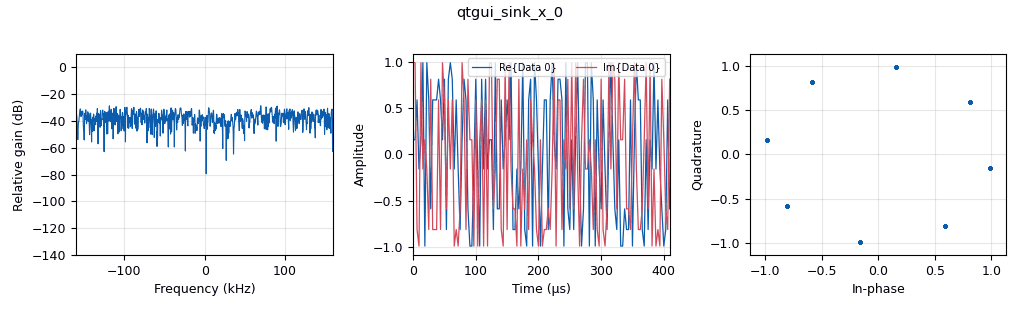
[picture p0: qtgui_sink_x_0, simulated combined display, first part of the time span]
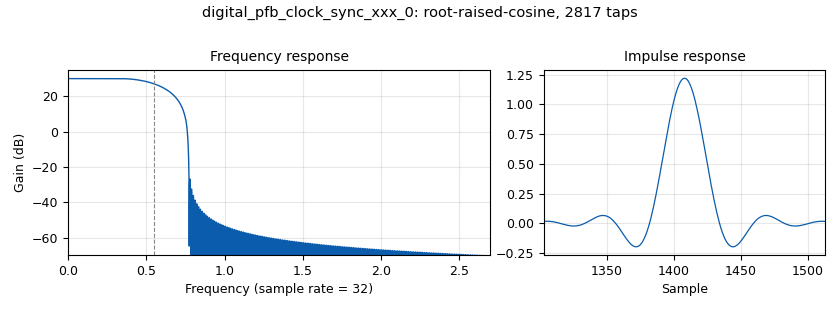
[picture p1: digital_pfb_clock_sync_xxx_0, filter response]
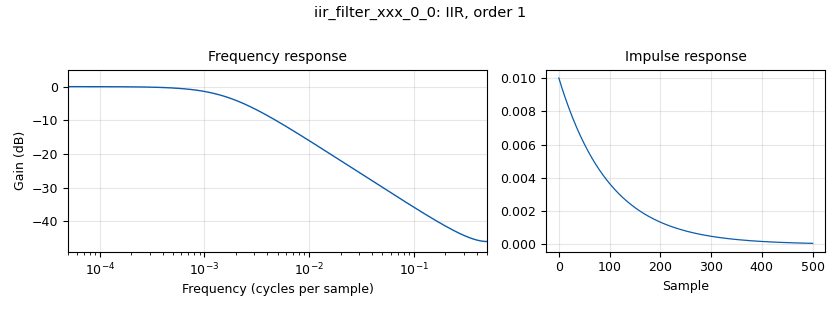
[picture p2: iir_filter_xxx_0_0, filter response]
<?xml version='1.0' encoding='utf-8'?>
<?grc format='1' created='3.7.11'?>
<flow_graph>
<block>
<key>options</key>
<param><key>id</key><value>top_block</value></param>
<param><key>generate_options</key><value>qt_gui</value></param>
</block>
<block>
<key>variable</key>
<param><key>id</key><value>const_points</value></param>
<param><key>value</key><value>4</value></param>
</block>
<block>
<key>variable</key>
<param><key>id</key><value>excess_bw</value></param>
<param><key>value</key><value>0.4</value></param>
</block>
<block>
<key>variable_qtgui_range</key>
<param><key>id</key><value>freq</value></param>
<param><key>value</key><value>10000</value></param>
<param><key>orient</key><value>Qt.Horizontal</value></param>
<param><key>start</key><value>0</value></param>
<param><key>step</key><value>1000</value></param>
<param><key>stop</key><value>20000</value></param>
</block>
<block>
<key>variable</key>
<param><key>id</key><value>nfilts</value></param>
<param><key>value</key><value>32</value></param>
</block>
<block>
<key>variable</key>
<param><key>id</key><value>ntaps</value></param>
<param><key>value</key><value>11*nfilts*sps</value></param>
</block>
<block>
<key>variable</key>
<param><key>id</key><value>samp_rate</value></param>
<param><key>value</key><value>40000*sps</value></param>
</block>
<block>
<key>variable_qtgui_range</key>
<param><key>id</key><value>slider</value></param>
<param><key>value</key><value>50</value></param>
<param><key>orient</key><value>Qt.Horizontal</value></param>
<param><key>start</key><value>0</value></param>
<param><key>step</key><value>10</value></param>
<param><key>stop</key><value>1000</value></param>
</block>
<block>
<key>variable</key>
<param><key>id</key><value>sps</value></param>
<param><key>value</key><value>8</value></param>
</block>
<block>
<key>variable</key>
<param><key>id</key><value>tx_taps</value></param>
<param><key>value</key><value>firdes.root_raised_cosine(nfilts,nfilts,1.1,excess_bw,ntaps)</value></param>
</block>
<block>
<key>variable_qtgui_range</key>
<param><key>id</key><value>var1</value></param>
<param><key>value</key><value>0</value></param>
<param><key>_enabled</key><value>0</value></param>
<param><key>orient</key><value>Qt.Horizontal</value></param>
<param><key>start</key><value>-1</value></param>
<param><key>step</key><value>0.01</value></param>
<param><key>stop</key><value>1</value></param>
</block>
<block>
<key>variable_qtgui_range</key>
<param><key>id</key><value>var2</value></param>
<param><key>value</key><value>0</value></param>
<param><key>_enabled</key><value>0</value></param>
<param><key>orient</key><value>Qt.Horizontal</value></param>
<param><key>start</key><value>-1</value></param>
<param><key>step</key><value>0.01</value></param>
<param><key>stop</key><value>1</value></param>
</block>
<block>
<key>variable_qtgui_range</key>
<param><key>id</key><value>var3</value></param>
<param><key>value</key><value>0</value></param>
<param><key>_enabled</key><value>0</value></param>
<param><key>orient</key><value>Qt.Horizontal</value></param>
<param><key>start</key><value>-1</value></param>
<param><key>step</key><value>0.01</value></param>
<param><key>stop</key><value>1</value></param>
</block>
<block>
<key>variable_qtgui_range</key>
<param><key>id</key><value>var4</value></param>
<param><key>value</key><value>0</value></param>
<param><key>_enabled</key><value>0</value></param>
<param><key>orient</key><value>Qt.Horizontal</value></param>
<param><key>start</key><value>-1</value></param>
<param><key>step</key><value>0.01</value></param>
<param><key>stop</key><value>1</value></param>
</block>
<block>
<key>analog_phase_modulator_fc</key>
<param><key>id</key><value>analog_phase_modulator_fc_0</value></param>
<param><key>sensitivity</key><value>1</value></param>
</block>
<block>
<key>analog_phase_modulator_fc</key>
<param><key>id</key><value>analog_phase_modulator_fc_0_0</value></param>
<param><key>sensitivity</key><value>1</value></param>
</block>
<block>
<key>analog_random_source_x</key>
<param><key>id</key><value>analog_random_source_x_0</value></param>
<param><key>max</key><value>8</value></param>
<param><key>min</key><value>0</value></param>
<param><key>num_samps</key><value>1000</value></param>
<param><key>type</key><value>int</value></param>
<param><key>repeat</key><value>True</value></param>
</block>
<block>
<key>analog_sig_source_x</key>
<param><key>id</key><value>analog_sig_source_x_0</value></param>
<param><key>amp</key><value>1</value></param>
<param><key>freq</key><value>10000</value></param>
<param><key>offset</key><value>0</value></param>
<param><key>type</key><value>complex</value></param>
<param><key>samp_rate</key><value>samp_rate</value></param>
<param><key>waveform</key><value>analog.GR_COS_WAVE</value></param>
</block>
<block>
<key>blocks_complex_to_arg</key>
<param><key>id</key><value>blocks_complex_to_arg_0</value></param>
</block>
<block>
<key>blocks_complex_to_arg</key>
<param><key>id</key><value>blocks_complex_to_arg_0_0</value></param>
</block>
<block>
<key>blocks_complex_to_arg</key>
<param><key>id</key><value>blocks_complex_to_arg_1</value></param>
</block>
<block>
<key>blocks_complex_to_arg</key>
<param><key>id</key><value>blocks_complex_to_arg_1_0</value></param>
</block>
<block>
<key>blocks_delay</key>
<param><key>id</key><value>blocks_delay_0</value></param>
<param><key>delay</key><value>1</value></param>
<param><key>type</key><value>complex</value></param>
</block>
<block>
<key>blocks_delay</key>
<param><key>id</key><value>blocks_delay_0_0</value></param>
<param><key>delay</key><value>slider</value></param>
<param><key>type</key><value>float</value></param>
</block>
<block>
<key>blocks_delay</key>
<param><key>id</key><value>blocks_delay_0_1</value></param>
<param><key>delay</key><value>1</value></param>
<param><key>type</key><value>complex</value></param>
</block>
<block>
<key>blocks_delay</key>
<param><key>id</key><value>blocks_delay_1</value></param>
<param><key>delay</key><value>1</value></param>
<param><key>type</key><value>complex</value></param>
</block>
<block>
<key>blocks_delay</key>
<param><key>id</key><value>blocks_delay_1_0</value></param>
<param><key>delay</key><value>1</value></param>
<param><key>type</key><value>complex</value></param>
</block>
<block>
<key>blocks_multiply_conjugate_cc</key>
<param><key>id</key><value>blocks_multiply_conjugate_cc_0</value></param>
</block>
<block>
<key>blocks_multiply_conjugate_cc</key>
<param><key>id</key><value>blocks_multiply_conjugate_cc_0_0</value></param>
</block>
<block>
<key>blocks_multiply_conjugate_cc</key>
<param><key>id</key><value>blocks_multiply_conjugate_cc_1</value></param>
</block>
<block>
<key>blocks_multiply_conjugate_cc</key>
<param><key>id</key><value>blocks_multiply_conjugate_cc_1_0</value></param>
</block>
<block>
<key>blocks_multiply_conjugate_cc</key>
<param><key>id</key><value>blocks_multiply_conjugate_cc_2</value></param>
</block>
<block>
<key>blocks_multiply_conjugate_cc</key>
<param><key>id</key><value>blocks_multiply_conjugate_cc_2_0</value></param>
</block>
<block>
<key>blocks_multiply_const_vxx</key>
<param><key>id</key><value>blocks_multiply_const_vxx_0</value></param>
<param><key>const</key><value>1.0/sps</value></param>
<param><key>type</key><value>float</value></param>
</block>
<block>
<key>blocks_multiply_const_vxx</key>
<param><key>id</key><value>blocks_multiply_const_vxx_0_0</value></param>
<param><key>const</key><value>0.001</value></param>
<param><key>type</key><value>float</value></param>
</block>
<block>
<key>blocks_multiply_const_vxx</key>
<param><key>id</key><value>blocks_multiply_const_vxx_0_1</value></param>
<param><key>const</key><value>1.0/sps</value></param>
<param><key>type</key><value>float</value></param>
</block>
<block>
<key>blocks_multiply_xx</key>
<param><key>id</key><value>blocks_multiply_xx_0</value></param>
<param><key>type</key><value>complex</value></param>
</block>
<block>
<key>blocks_multiply_xx</key>
<param><key>id</key><value>blocks_multiply_xx_3</value></param>
<param><key>type</key><value>complex</value></param>
<param><key>num_inputs</key><value>8</value></param>
</block>
<block>
<key>blocks_multiply_xx</key>
<param><key>id</key><value>blocks_multiply_xx_3_0</value></param>
<param><key>type</key><value>complex</value></param>
</block>
<block>
<key>blocks_multiply_xx</key>
<param><key>id</key><value>blocks_multiply_xx_3_1</value></param>
<param><key>type</key><value>complex</value></param>
<param><key>num_inputs</key><value>8</value></param>
</block>
<block>
<key>blocks_udp_sink</key>
<param><key>id</key><value>blocks_udp_sink_0</value></param>
<param><key>ipaddr</key><value>127.0.0.1</value></param>
<param><key>port</key><value>35678</value></param>
<param><key>type</key><value>float</value></param>
<param><key>psize</key><value>1472</value></param>
<param><key>eof</key><value>True</value></param>
<param><key>vlen</key><value>1</value></param>
</block>
<block>
<key>blocks_udp_source</key>
<param><key>id</key><value>blocks_udp_source_0</value></param>
<param><key>ipaddr</key><value>127.0.0.1</value></param>
<param><key>eof</key><value>True</value></param>
<param><key>type</key><value>float</value></param>
<param><key>psize</key><value>1472</value></param>
<param><key>port</key><value>35678</value></param>
<param><key>vlen</key><value>1</value></param>
</block>
<block>
<key>blocks_vco_c</key>
<param><key>id</key><value>blocks_vco_c_0</value></param>
<param><key>amplitude</key><value>1</value></param>
<param><key>samp_rate</key><value>samp_rate</value></param>
<param><key>sensitivity</key><value>samp_rate</value></param>
</block>
<block>
<key>blocks_vco_c</key>
<param><key>id</key><value>blocks_vco_c_0_0</value></param>
<param><key>amplitude</key><value>1</value></param>
<param><key>samp_rate</key><value>samp_rate</value></param>
<param><key>sensitivity</key><value>-5</value></param>
</block>
<block>
<key>import</key>
<param><key>id</key><value>digital</value></param>
<param><key>import</key><value>from gnuradio import digital</value></param>
</block>
<block>
<key>digital_chunks_to_symbols_xx</key>
<param><key>id</key><value>digital_chunks_to_symbols_xx_0</value></param>
<param><key>dimension</key><value>1</value></param>
<param><key>in_type</key><value>int</value></param>
<param><key>out_type</key><value>complex</value></param>
<param><key>symbol_table</key><value>((1), (-1), (1j), (-1j), (0.707-0.707j),(0.707+0.707j),(-0.707+0.707j),(-0.707-0.707j))</value></param>
</block>
<block>
<key>digital_pfb_clock_sync_xxx</key>
<param><key>id</key><value>digital_pfb_clock_sync_xxx_0</value></param>
<param><key>filter_size</key><value>nfilts</value></param>
<param><key>init_phase</key><value>16</value></param>
<param><key>loop_bw</key><value>2*pi/100</value></param>
<param><key>max_dev</key><value>1.5</value></param>
<param><key>osps</key><value>1</value></param>
<param><key>sps</key><value>sps</value></param>
<param><key>taps</key><value>tx_taps</value></param>
<param><key>type</key><value>ccf</value></param>
</block>
<block>
<key>import</key>
<param><key>id</key><value>filt</value></param>
<param><key>import</key><value>from gnuradio import filter</value></param>
</block>
<block>
<key>iir_filter_xxx</key>
<param><key>id</key><value>iir_filter_xxx_0</value></param>
<param><key>fftaps</key><value>1</value></param>
<param><key>fbtaps</key><value>[1,1]</value></param>
<param><key>type</key><value>ffd</value></param>
</block>
<block>
<key>iir_filter_xxx</key>
<param><key>id</key><value>iir_filter_xxx_0_0</value></param>
<param><key>fftaps</key><value>0.01</value></param>
<param><key>fbtaps</key><value>[-1, 0.99]</value></param>
<param><key>type</key><value>ffd</value></param>
</block>
<block>
<key>iir_filter_xxx</key>
<param><key>id</key><value>iir_filter_xxx_0_1</value></param>
<param><key>fftaps</key><value>1</value></param>
<param><key>fbtaps</key><value>[1,1]</value></param>
<param><key>type</key><value>ffd</value></param>
</block>
<block>
<key>iir_filter_xxx</key>
<param><key>id</key><value>iir_filter_xxx_1</value></param>
<param><key>fftaps</key><value>[1.001, -1]</value></param>
<param><key>fbtaps</key><value>[1, -1]</value></param>
<param><key>type</key><value>ffd</value></param>
</block>
<block>
<key>pfb_arb_resampler_xxx</key>
<param><key>id</key><value>pfb_arb_resampler_xxx_0</value></param>
<param><key>nfilts</key><value>32</value></param>
<param><key>rrate</key><value>sps</value></param>
<param><key>atten</key><value>100</value></param>
<param><key>taps</key><value>tx_taps</value></param>
<param><key>type</key><value>ccf</value></param>
</block>
<block>
<key>import</key>
<param><key>id</key><value>pi</value></param>
<param><key>import</key><value>from math import pi</value></param>
</block>
<block>
<key>qtgui_sink_x</key>
<param><key>id</key><value>qtgui_sink_x_0</value></param>
<param><key>bw</key><value>samp_rate</value></param>
<param><key>fc</key><value>0</value></param>
<param><key>freqchangevar</key><value>None</value></param>
<param><key>fftsize</key><value>1024</value></param>
<param><key>showports</key><value>True</value></param>
<param><key>type</key><value>complex</value></param>
<param><key>wintype</key><value>firdes.WIN_BLACKMAN_hARRIS</value></param>
</block>
<block>
<key>rational_resampler_xxx</key>
<param><key>id</key><value>rational_resampler_xxx_0</value></param>
<param><key>decim</key><value>1</value></param>
<param><key>interp</key><value>sps</value></param>
<param><key>taps</key><value>1</value></param>
<param><key>type</key><value>fff</value></param>
</block>
<connection><source_block_id>analog_phase_modulator_fc_0</source_block_id><sink_block_id>blocks_multiply_conjugate_cc_0</sink_block_id><source_key>0</source_key><sink_key>1</sink_key></connection>
<connection><source_block_id>analog_phase_modulator_fc_0_0</source_block_id><sink_block_id>blocks_multiply_conjugate_cc_0_0</sink_block_id><source_key>0</source_key><sink_key>1</sink_key></connection>
<connection><source_block_id>analog_random_source_x_0</source_block_id><sink_block_id>digital_chunks_to_symbols_xx_0</sink_block_id><source_key>0</source_key><sink_key>0</sink_key></connection>
<connection><source_block_id>analog_sig_source_x_0</source_block_id><sink_block_id>blocks_multiply_xx_0</sink_block_id><source_key>0</source_key><sink_key>0</sink_key></connection>
<connection><source_block_id>blocks_complex_to_arg_0</source_block_id><sink_block_id>blocks_vco_c_0</sink_block_id><source_key>0</source_key><sink_key>0</sink_key></connection>
<connection><source_block_id>blocks_complex_to_arg_0_0</source_block_id><sink_block_id>iir_filter_xxx_0_0</sink_block_id><source_key>0</source_key><sink_key>0</sink_key></connection>
<connection><source_block_id>blocks_complex_to_arg_1</source_block_id><sink_block_id>blocks_multiply_const_vxx_0</sink_block_id><source_key>0</source_key><sink_key>0</sink_key></connection>
<connection><source_block_id>blocks_complex_to_arg_1_0</source_block_id><sink_block_id>blocks_multiply_const_vxx_0_1</sink_block_id><source_key>0</source_key><sink_key>0</sink_key></connection>
<connection><source_block_id>blocks_delay_0</source_block_id><sink_block_id>blocks_multiply_conjugate_cc_1</sink_block_id><source_key>0</source_key><sink_key>1</sink_key></connection>
<connection><source_block_id>blocks_delay_0_0</source_block_id><sink_block_id>iir_filter_xxx_1</sink_block_id><source_key>0</source_key><sink_key>0</sink_key></connection>
<connection><source_block_id>blocks_delay_0_1</source_block_id><sink_block_id>blocks_multiply_conjugate_cc_1_0</sink_block_id><source_key>0</source_key><sink_key>1</sink_key></connection>
<connection><source_block_id>blocks_delay_1</source_block_id><sink_block_id>blocks_multiply_conjugate_cc_2</sink_block_id><source_key>0</source_key><sink_key>1</sink_key></connection>
<connection><source_block_id>blocks_delay_1_0</source_block_id><sink_block_id>blocks_multiply_conjugate_cc_2_0</sink_block_id><source_key>0</source_key><sink_key>1</sink_key></connection>
<connection><source_block_id>blocks_multiply_conjugate_cc_0</source_block_id><sink_block_id>blocks_delay_0</sink_block_id><source_key>0</source_key><sink_key>0</sink_key></connection>
<connection><source_block_id>blocks_multiply_conjugate_cc_0</source_block_id><sink_block_id>blocks_multiply_conjugate_cc_1</sink_block_id><source_key>0</source_key><sink_key>0</sink_key></connection>
<connection><source_block_id>blocks_multiply_conjugate_cc_0_0</source_block_id><sink_block_id>blocks_delay_0_1</sink_block_id><source_key>0</source_key><sink_key>0</sink_key></connection>
<connection><source_block_id>blocks_multiply_conjugate_cc_0_0</source_block_id><sink_block_id>blocks_multiply_conjugate_cc_1_0</sink_block_id><source_key>0</source_key><sink_key>0</sink_key></connection>
<connection><source_block_id>blocks_multiply_conjugate_cc_1</source_block_id><sink_block_id>blocks_complex_to_arg_0</sink_block_id><source_key>0</source_key><sink_key>0</sink_key></connection>
<connection><source_block_id>blocks_multiply_conjugate_cc_1_0</source_block_id><sink_block_id>blocks_complex_to_arg_0_0</sink_block_id><source_key>0</source_key><sink_key>0</sink_key></connection>
<connection><source_block_id>blocks_multiply_conjugate_cc_2</source_block_id><sink_block_id>blocks_complex_to_arg_1</sink_block_id><source_key>0</source_key><sink_key>0</sink_key></connection>
<connection><source_block_id>blocks_multiply_conjugate_cc_2_0</source_block_id><sink_block_id>blocks_complex_to_arg_1_0</sink_block_id><source_key>0</source_key><sink_key>0</sink_key></connection>
<connection><source_block_id>blocks_multiply_const_vxx_0</source_block_id><sink_block_id>iir_filter_xxx_0</sink_block_id><source_key>0</source_key><sink_key>0</sink_key></connection>
<connection><source_block_id>blocks_multiply_const_vxx_0_0</source_block_id><sink_block_id>blocks_delay_0_0</sink_block_id><source_key>0</source_key><sink_key>0</sink_key></connection>
<connection><source_block_id>blocks_multiply_const_vxx_0_1</source_block_id><sink_block_id>iir_filter_xxx_0_1</sink_block_id><source_key>0</source_key><sink_key>0</sink_key></connection>
<connection><source_block_id>blocks_multiply_xx_0</source_block_id><sink_block_id>digital_pfb_clock_sync_xxx_0</sink_block_id><source_key>0</source_key><sink_key>0</sink_key></connection>
<connection><source_block_id>blocks_multiply_xx_3</source_block_id><sink_block_id>blocks_delay_1</sink_block_id><source_key>0</source_key><sink_key>0</sink_key></connection>
<connection><source_block_id>blocks_multiply_xx_3</source_block_id><sink_block_id>blocks_multiply_conjugate_cc_2</sink_block_id><source_key>0</source_key><sink_key>0</sink_key></connection>
<connection><source_block_id>blocks_multiply_xx_3_0</source_block_id><sink_block_id>blocks_multiply_conjugate_cc_0_0</sink_block_id><source_key>0</source_key><sink_key>0</sink_key></connection>
<connection><source_block_id>blocks_multiply_xx_3_0</source_block_id><sink_block_id>blocks_multiply_xx_3_1</sink_block_id><source_key>0</source_key><sink_key>0</sink_key></connection>
<connection><source_block_id>blocks_multiply_xx_3_0</source_block_id><sink_block_id>blocks_multiply_xx_3_1</sink_block_id><source_key>0</source_key><sink_key>1</sink_key></connection>
<connection><source_block_id>blocks_multiply_xx_3_0</source_block_id><sink_block_id>blocks_multiply_xx_3_1</sink_block_id><source_key>0</source_key><sink_key>2</sink_key></connection>
<connection><source_block_id>blocks_multiply_xx_3_0</source_block_id><sink_block_id>blocks_multiply_xx_3_1</sink_block_id><source_key>0</source_key><sink_key>3</sink_key></connection>
<connection><source_block_id>blocks_multiply_xx_3_0</source_block_id><sink_block_id>blocks_multiply_xx_3_1</sink_block_id><source_key>0</source_key><sink_key>4</sink_key></connection>
<connection><source_block_id>blocks_multiply_xx_3_0</source_block_id><sink_block_id>blocks_multiply_xx_3_1</sink_block_id><source_key>0</source_key><sink_key>5</sink_key></connection>
<connection><source_block_id>blocks_multiply_xx_3_0</source_block_id><sink_block_id>blocks_multiply_xx_3_1</sink_block_id><source_key>0</source_key><sink_key>6</sink_key></connection>
<connection><source_block_id>blocks_multiply_xx_3_0</source_block_id><sink_block_id>blocks_multiply_xx_3_1</sink_block_id><source_key>0</source_key><sink_key>7</sink_key></connection>
<connection><source_block_id>blocks_multiply_xx_3_1</source_block_id><sink_block_id>blocks_delay_1_0</sink_block_id><source_key>0</source_key><sink_key>0</sink_key></connection>
<connection><source_block_id>blocks_multiply_xx_3_1</source_block_id><sink_block_id>blocks_multiply_conjugate_cc_2_0</sink_block_id><source_key>0</source_key><sink_key>0</sink_key></connection>
<connection><source_block_id>blocks_udp_source_0</source_block_id><sink_block_id>blocks_multiply_const_vxx_0_0</sink_block_id><source_key>0</source_key><sink_key>0</sink_key></connection>
<connection><source_block_id>blocks_vco_c_0</source_block_id><sink_block_id>blocks_multiply_xx_3_0</sink_block_id><source_key>0</source_key><sink_key>0</sink_key></connection>
<connection><source_block_id>blocks_vco_c_0</source_block_id><sink_block_id>qtgui_sink_x_0</sink_block_id><source_key>0</source_key><sink_key>0</sink_key></connection>
<connection><source_block_id>blocks_vco_c_0_0</source_block_id><sink_block_id>blocks_multiply_xx_3_0</sink_block_id><source_key>0</source_key><sink_key>1</sink_key></connection>
<connection><source_block_id>digital_chunks_to_symbols_xx_0</source_block_id><sink_block_id>pfb_arb_resampler_xxx_0</sink_block_id><source_key>0</source_key><sink_key>0</sink_key></connection>
<connection><source_block_id>digital_pfb_clock_sync_xxx_0</source_block_id><sink_block_id>blocks_multiply_conjugate_cc_0</sink_block_id><source_key>0</source_key><sink_key>0</sink_key></connection>
<connection><source_block_id>digital_pfb_clock_sync_xxx_0</source_block_id><sink_block_id>blocks_multiply_xx_3</sink_block_id><source_key>0</source_key><sink_key>0</sink_key></connection>
<connection><source_block_id>digital_pfb_clock_sync_xxx_0</source_block_id><sink_block_id>blocks_multiply_xx_3</sink_block_id><source_key>0</source_key><sink_key>1</sink_key></connection>
<connection><source_block_id>digital_pfb_clock_sync_xxx_0</source_block_id><sink_block_id>blocks_multiply_xx_3</sink_block_id><source_key>0</source_key><sink_key>2</sink_key></connection>
<connection><source_block_id>digital_pfb_clock_sync_xxx_0</source_block_id><sink_block_id>blocks_multiply_xx_3</sink_block_id><source_key>0</source_key><sink_key>3</sink_key></connection>
<connection><source_block_id>digital_pfb_clock_sync_xxx_0</source_block_id><sink_block_id>blocks_multiply_xx_3</sink_block_id><source_key>0</source_key><sink_key>4</sink_key></connection>
<connection><source_block_id>digital_pfb_clock_sync_xxx_0</source_block_id><sink_block_id>blocks_multiply_xx_3</sink_block_id><source_key>0</source_key><sink_key>5</sink_key></connection>
<connection><source_block_id>digital_pfb_clock_sync_xxx_0</source_block_id><sink_block_id>blocks_multiply_xx_3</sink_block_id><source_key>0</source_key><sink_key>6</sink_key></connection>
<connection><source_block_id>digital_pfb_clock_sync_xxx_0</source_block_id><sink_block_id>blocks_multiply_xx_3</sink_block_id><source_key>0</source_key><sink_key>7</sink_key></connection>
<connection><source_block_id>iir_filter_xxx_0</source_block_id><sink_block_id>analog_phase_modulator_fc_0</sink_block_id><source_key>0</source_key><sink_key>0</sink_key></connection>
<connection><source_block_id>iir_filter_xxx_0_0</source_block_id><sink_block_id>blocks_udp_sink_0</sink_block_id><source_key>0</source_key><sink_key>0</sink_key></connection>
<connection><source_block_id>iir_filter_xxx_0_1</source_block_id><sink_block_id>analog_phase_modulator_fc_0_0</sink_block_id><source_key>0</source_key><sink_key>0</sink_key></connection>
<connection><source_block_id>iir_filter_xxx_1</source_block_id><sink_block_id>rational_resampler_xxx_0</sink_block_id><source_key>0</source_key><sink_key>0</sink_key></connection>
<connection><source_block_id>pfb_arb_resampler_xxx_0</source_block_id><sink_block_id>blocks_multiply_xx_0</sink_block_id><source_key>0</source_key><sink_key>1</sink_key></connection>
<connection><source_block_id>rational_resampler_xxx_0</source_block_id><sink_block_id>blocks_vco_c_0_0</sink_block_id><source_key>0</source_key><sink_key>0</sink_key></connection>
</flow_graph>
